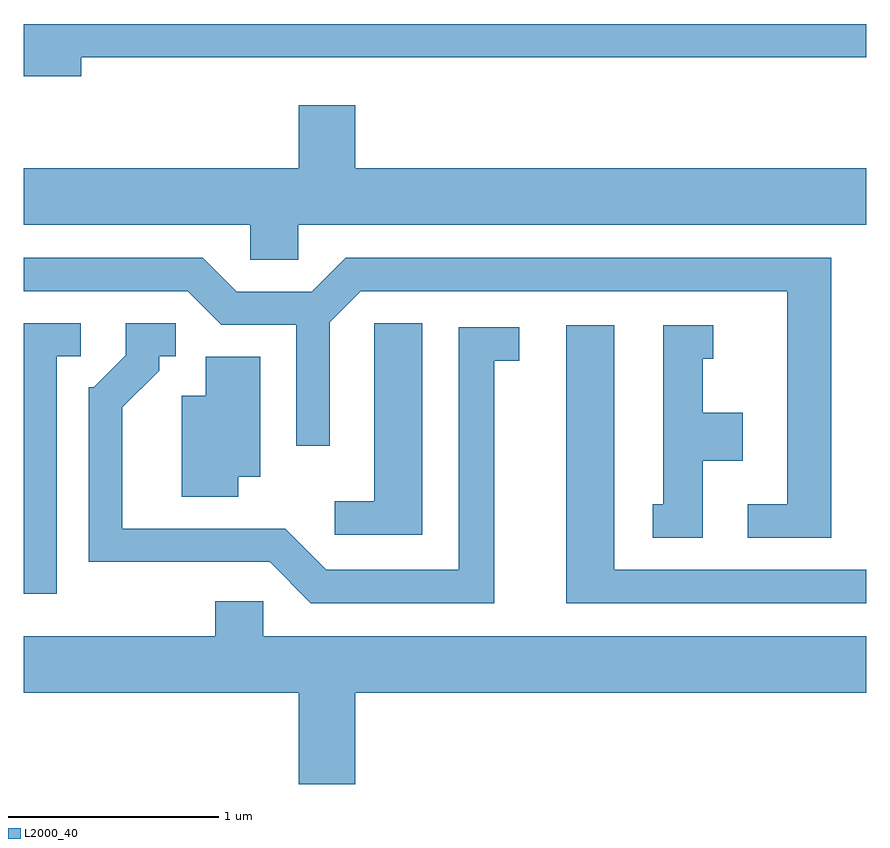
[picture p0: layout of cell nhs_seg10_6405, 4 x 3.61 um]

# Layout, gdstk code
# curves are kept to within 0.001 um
import gdstk
lib = gdstk.Library(unit=1e-6, precision=1e-09)
def P(c, l, *ps):  # polygons
    for p in ps: c.add(gdstk.Polygon(p, *l))
L2000_40 = (2000, 40)

nhs_seg10_6405 = lib.new_cell('nhs_seg10_6405')
P(nhs_seg10_6405, L2000_40, [(373.884,2187.971),(377.611,2187.971),(377.611,2188.129),(373.611,2188.129),(373.611,2187.881),(373.884,2187.881)],
  [(374.914,2187.176),(377.611,2187.176),(377.611,2187.444),(375.184,2187.444),(375.184,2187.744),(374.916,2187.744),(374.916,2187.444),(373.611,2187.444),(373.611,2187.176),(374.686,2187.176),(374.686,2187.011),(374.914,2187.011)],
  [(377.444,2187.019),(375.139,2187.019),(374.979,2186.859),(374.622,2186.859),(374.462,2187.019),(373.611,2187.019),(373.611,2186.861),(374.389,2186.861),(374.549,2186.701),(374.906,2186.701),(374.906,2186.128),(375.064,2186.128),(375.064,2186.714),(375.212,2186.861),(377.236,2186.861),(377.236,2185.849),(377.048,2185.849),(377.048,2185.691),(377.444,2185.691)],
  [(373.769,2186.551),(373.883,2186.551),(373.883,2186.709),(373.611,2186.709),(373.611,2185.426),(373.769,2185.426)],
  [(375.504,2186.709),(375.276,2186.709),(375.276,2185.864),(375.088,2185.864),(375.088,2185.706),(375.504,2185.706)],
  [(375.844,2186.531),(375.963,2186.531),(375.963,2186.689),(375.676,2186.689),(375.676,2185.539),(375.047,2185.539),(374.852,2185.734),(374.079,2185.734),(374.079,2186.309),(374.254,2186.484),(374.254,2186.551),(374.333,2186.551),(374.333,2186.709),(374.096,2186.709),(374.096,2186.557),(373.944,2186.404),(373.921,2186.404),(373.921,2185.576),(374.779,2185.576),(374.974,2185.381),(375.844,2185.381)],
  [(377.611,2185.539),(376.414,2185.539),(376.414,2186.699),(376.186,2186.699),(376.186,2185.381),(377.611,2185.381)],
  [(376.834,2186.056),(377.024,2186.056),(377.024,2186.284),(376.834,2186.284),(376.834,2186.541),(376.883,2186.541),(376.883,2186.699),(376.646,2186.699),(376.646,2185.849),(376.598,2185.849),(376.598,2185.691),(376.834,2185.691)],
  [(374.629,2185.981),(374.734,2185.981),(374.734,2186.549),(374.476,2186.549),(374.476,2186.364),(374.361,2186.364),(374.361,2185.886),(374.629,2185.886)],
  [(375.184,2184.956),(377.611,2184.956),(377.611,2185.224),(374.749,2185.224),(374.749,2185.389),(374.521,2185.389),(374.521,2185.224),(373.611,2185.224),(373.611,2184.956),(374.916,2184.956),(374.916,2184.522),(375.184,2184.522)])

lib.write_gds('nhs_seg10_6405.gds')
